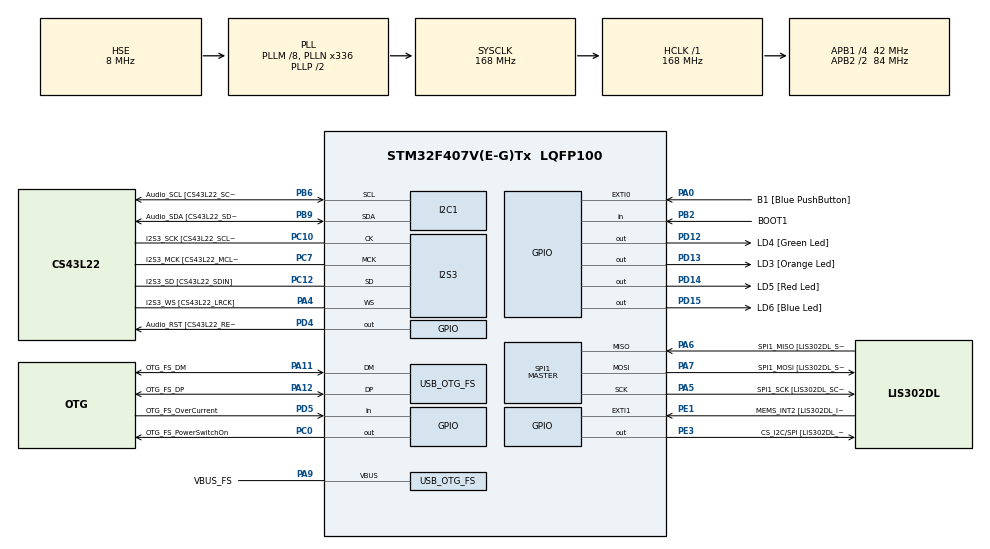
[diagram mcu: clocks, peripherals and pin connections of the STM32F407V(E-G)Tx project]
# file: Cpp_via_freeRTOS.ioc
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FREERTOS.BinarySemaphores01=myBinarySem01,Dynamic,NULL;myBinarySem02,Dynamic,NULL;myBinarySem03,Dynamic,NULL
FREERTOS.Mutexes01=myMutex01,Dynamic,NULL;myMutex02,Dynamic,NULL;myMutex03,Dynamic,NULL
FREERTOS.Queues01=myQueue01,16,uint16_t,0,Dynamic,NULL,NULL;myQueue02,16,uint16_t,0,Dynamic,NULL,NULL;myQueue03,16,uint16_t,0,Dynamic,NULL,NULL
FREERTOS.Tasks01=defaultTask,0,128,StartDefaultTask,Default,NULL,Dynamic,NULL,NULL;myTask02,-3,128,StartTask02,Default,NULL,Dynamic,NULL,NULL;myTask03,-3,128,StartTask03,Default,NULL,Dynamic,NULL,NULL
I2S3.AudioFreq-Half_Duplex_Master=I2S_AUDIOFREQ_96K
I2S3.ErrorAudioFreq=-2.34 %
I2S3.ErrorAudioFreq-Half_Duplex_Master=0.8 %
I2S3.FullDuplexMode=I2S_FULLDUPLEXMODE_DISABLE
I2S3.Instance=SPI$Index
I2S3.RealAudioFreq=93.75 KHz
I2S3.RealAudioFreq-Half_Duplex_Master=96.774 KHz
I2S3.VirtualMode=I2S_MODE_MASTER
Mcu.Family=STM32F4
Mcu.Name=STM32F407V(E-G)Tx
Mcu.Package=LQFP100
NVIC.OTG_FS_IRQn=true\:5\:0\:false\:false\:true\:true\:true
NVIC.PriorityGroup=NVIC_PRIORITYGROUP_4
NVIC.TIM6_DAC_IRQn=true\:0\:0\:false\:false\:true\:false\:false
NVIC.TimeBase=TIM6_DAC_IRQn
NVIC.TimeBaseIP=TIM6
PA0-WKUP.GPIO_Label=B1 [Blue PushButton]
PA0-WKUP.GPIO_ModeDefaultEXTI=GPIO_MODE_EVT_RISING
PA0-WKUP.GPIO_PuPd=GPIO_NOPULL
PA0-WKUP.Signal=GPXTI0
PA10.GPIO_Label=OTG_FS_ID
PA10.GPIO_Mode=GPIO_MODE_AF_PP
PA10.GPIO_PuPd=GPIO_NOPULL
PA10.GPIO_Speed=GPIO_SPEED_FREQ_LOW
PA10.Signal=USB_OTG_FS_ID
PA11.GPIO_Label=OTG_FS_DM
PA11.GPIO_Mode=GPIO_MODE_AF_PP
PA11.GPIO_PuPd=GPIO_NOPULL
PA11.GPIO_Speed=GPIO_SPEED_FREQ_LOW
PA11.Mode=Host_Only
PA11.Signal=USB_OTG_FS_DM
PA12.GPIO_Label=OTG_FS_DP
PA12.GPIO_Mode=GPIO_MODE_AF_PP
PA12.GPIO_PuPd=GPIO_NOPULL
PA12.GPIO_Speed=GPIO_SPEED_FREQ_LOW
PA12.Mode=Host_Only
PA12.Signal=USB_OTG_FS_DP
PA13.GPIO_Label=SWDIO
PA13.Mode=Serial_Wire
PA13.Signal=SYS_JTMS-SWDIO
PA14.GPIO_Label=SWCLK
PA14.Mode=Serial_Wire
PA14.Signal=SYS_JTCK-SWCLK
PA4.GPIO_Label=I2S3_WS [CS43L22_LRCK]
PA4.GPIO_Mode=GPIO_MODE_AF_PP
PA4.GPIO_PuPd=GPIO_NOPULL
PA4.GPIO_Speed=GPIO_SPEED_FREQ_LOW
PA4.Mode=Half_Duplex_Master
PA4.Signal=I2S3_WS
PA5.GPIO_Label=SPI1_SCK [LIS302DL_SCL/SPC]
PA5.GPIO_Mode=GPIO_MODE_AF_PP
PA5.GPIO_PuPd=GPIO_NOPULL
PA5.GPIO_Speed=GPIO_SPEED_FREQ_LOW
PA5.Mode=Full_Duplex_Master
PA5.Signal=SPI1_SCK
PA6.GPIO_Label=SPI1_MISO [LIS302DL_SDO]
PA6.GPIO_Mode=GPIO_MODE_AF_PP
PA6.GPIO_PuPd=GPIO_NOPULL
PA6.GPIO_Speed=GPIO_SPEED_FREQ_LOW
PA6.Mode=Full_Duplex_Master
PA6.Signal=SPI1_MISO
PA7.GPIO_Label=SPI1_MOSI [LIS302DL_SDA/SDI/SDO]
PA7.GPIO_Mode=GPIO_MODE_AF_PP
PA7.GPIO_PuPd=GPIO_NOPULL
PA7.GPIO_Speed=GPIO_SPEED_FREQ_LOW
PA7.Mode=Full_Duplex_Master
PA7.Signal=SPI1_MOSI
PA9.GPIO_Label=VBUS_FS
PA9.GPIO_Mode=GPIO_MODE_INPUT
PA9.GPIO_PuPd=GPIO_NOPULL
PA9.Mode=Activate_VBUS
PA9.Signal=USB_OTG_FS_VBUS
PB10.GPIO_Label=CLK_IN [MP45DT02_CLK]
PB10.GPIO_Mode=GPIO_MODE_AF_PP
PB10.GPIO_PuPd=GPIO_NOPULL
PB10.GPIO_Speed=GPIO_SPEED_FREQ_LOW
PB10.Signal=I2S2_CK
PB2.GPIO_Label=BOOT1
PB2.GPIO_Mode=GPIO_MODE_INPUT
PB2.GPIO_PuPd=GPIO_NOPULL
PB2.Signal=GPIO_Input
PB3.GPIO_Label=SWO
PB3.Signal=SYS_JTDO-SWO
PB6.GPIO_Label=Audio_SCL [CS43L22_SCL]
PB6.GPIO_Mode=GPIO_MODE_AF_OD
PB6.GPIO_PuPd=GPIO_NOPULL
PB6.GPIO_Speed=GPIO_SPEED_FREQ_LOW
PB6.Mode=I2C
PB6.Signal=I2C1_SCL
PB9.GPIO_Label=Audio_SDA [CS43L22_SDA]
PB9.GPIO_Mode=GPIO_MODE_AF_OD
PB9.GPIO_PuPd=GPIO_NOPULL
PB9.GPIO_Speed=GPIO_SPEED_FREQ_LOW
PB9.Mode=I2C
PB9.Signal=I2C1_SDA
PC0.GPIO_Label=OTG_FS_PowerSwitchOn
PC0.GPIO_PuPd=GPIO_NOPULL
PC0.GPIO_Speed=GPIO_SPEED_FREQ_LOW
PC0.PinState=GPIO_PIN_SET
PC0.Signal=GPIO_Output
PC10.GPIO_Label=I2S3_SCK [CS43L22_SCLK]
PC10.GPIO_Mode=GPIO_MODE_AF_PP
PC10.GPIO_PuPd=GPIO_NOPULL
PC10.GPIO_Speed=GPIO_SPEED_FREQ_LOW
PC10.Mode=Half_Duplex_Master
PC10.Signal=I2S3_CK
PC12.GPIO_Label=I2S3_SD [CS43L22_SDIN]
PC12.GPIO_Mode=GPIO_MODE_AF_PP
PC12.GPIO_PuPd=GPIO_NOPULL
PC12.GPIO_Speed=GPIO_SPEED_FREQ_LOW
PC12.Mode=Half_Duplex_Master
PC12.Signal=I2S3_SD
PC14-OSC32_IN.GPIO_Label=PC14-OSC32_IN
PC14-OSC32_IN.Mode=LSE-External-Oscillator
PC14-OSC32_IN.Signal=RCC_OSC32_IN
PC15-OSC32_OUT.GPIO_Label=PC15-OSC32_OUT
PC15-OSC32_OUT.Mode=LSE-External-Oscillator
PC15-OSC32_OUT.Signal=RCC_OSC32_OUT
PC3.GPIO_Label=PDM_OUT [MP45DT02_DOUT]
PC3.GPIO_Mode=GPIO_MODE_AF_PP
PC3.GPIO_PuPd=GPIO_NOPULL
PC3.GPIO_Speed=GPIO_SPEED_FREQ_LOW
PC3.Signal=I2S2_SD
PC7.GPIO_Label=I2S3_MCK [CS43L22_MCLK]
PC7.GPIO_Mode=GPIO_MODE_AF_PP
PC7.GPIO_PuPd=GPIO_NOPULL
PC7.GPIO_Speed=GPIO_SPEED_FREQ_LOW
PC7.Mode=Master_Clock_Activated
PC7.Signal=I2S3_MCK
PD12.GPIO_Label=LD4 [Green Led]
PD12.GPIO_PuPd=GPIO_NOPULL
PD12.GPIO_Speed=GPIO_SPEED_FREQ_LOW
PD12.Signal=GPIO_Output
PD13.GPIO_Label=LD3 [Orange Led]
PD13.GPIO_PuPd=GPIO_NOPULL
PD13.GPIO_Speed=GPIO_SPEED_FREQ_LOW
PD13.Signal=GPIO_Output
PD14.GPIO_Label=LD5 [Red Led]
PD14.GPIO_PuPd=GPIO_NOPULL
PD14.GPIO_Speed=GPIO_SPEED_FREQ_LOW
PD14.Signal=GPIO_Output
PD15.GPIO_Label=LD6 [Blue Led]
PD15.GPIO_PuPd=GPIO_NOPULL
PD15.GPIO_Speed=GPIO_SPEED_FREQ_LOW
PD15.Signal=GPIO_Output
PD4.GPIO_Label=Audio_RST [CS43L22_RESET]
PD4.GPIO_PuPd=GPIO_NOPULL
PD4.GPIO_Speed=GPIO_SPEED_FREQ_LOW
PD4.Signal=GPIO_Output
PD5.GPIO_Label=OTG_FS_OverCurrent
PD5.GPIO_Mode=GPIO_MODE_INPUT
PD5.GPIO_PuPd=GPIO_NOPULL
PD5.Signal=GPIO_Input
PE1.GPIO_Label=MEMS_INT2 [LIS302DL_INT2]
PE1.GPIO_ModeDefaultEXTI=GPIO_MODE_EVT_RISING
PE1.GPIO_PuPd=GPIO_NOPULL
PE1.Signal=GPXTI1
PE3.GPIO_Label=CS_I2C/SPI [LIS302DL_CS_I2C/SPI]
PE3.GPIO_PuPd=GPIO_NOPULL
PE3.GPIO_Speed=GPIO_SPEED_FREQ_LOW
PE3.Signal=GPIO_Output
PH0-OSC_IN.GPIO_Label=PH0-OSC_IN
PH0-OSC_IN.Mode=HSE-External-Oscillator
PH0-OSC_IN.Signal=RCC_OSC_IN
PH1-OSC_OUT.GPIO_Label=PH1-OSC_OUT
PH1-OSC_OUT.Mode=HSE-External-Oscillator
PH1-OSC_OUT.Signal=RCC_OSC_OUT
ProjectManager.HeapSize=0x200
ProjectManager.StackSize=0x400
ProjectManager.TargetToolchain=MDK-ARM V5
RCC.48MHZClocksFreq_Value=48000000
RCC.AHBFreq_Value=168000000
RCC.APB1CLKDivider=RCC_HCLK_DIV4
RCC.APB1Freq_Value=42000000
RCC.APB1TimFreq_Value=84000000
RCC.APB2CLKDivider=RCC_HCLK_DIV2
RCC.APB2Freq_Value=84000000
RCC.APB2TimFreq_Value=168000000
RCC.CortexFreq_Value=168000000
RCC.HCLKFreq_Value=168000000
RCC.HSE_VALUE=8000000
RCC.HSI_VALUE=16000000
RCC.PLLM=8
RCC.PLLN=336
RCC.PLLQ=7
RCC.SYSCLKFreq_VALUE=168000000
RCC.SYSCLKSource=RCC_SYSCLKSOURCE_PLLCLK
RCC.VCOOutputFreq_Value=336000000
SPI1.BaudRatePrescaler-Full_Duplex_Master=SPI_BAUDRATEPRESCALER_2
SPI1.CalculateBaudRate-Full_Duplex_Master=42.0 MBits/s
SPI1.Direction=SPI_DIRECTION_2LINES
SPI1.Mode=SPI_MODE_MASTER
SPI1.Mode-Full_Duplex_Master=SPI_MODE_MASTER
SPI1.VirtualType=VM_MASTER
USB_HOST.BSP.number=1
USB_HOST.USBH_HandleTypeDef-CDC_FS=hUsbHostFS
USB_HOST.VirtualModeFS=Cdc
USB_HOST0.BSP.STBoard=false
USB_HOST0.BSP.api=Unknown
USB_HOST0.BSP.i2caddr=0
USB_HOST0.BSP.i2creg=0
USB_HOST0.BSP.instance=PC0
USB_HOST0.BSP.ip=GPIO
USB_HOST0.BSP.mode=Output
USB_HOST0.BSP.name=Drive_VBUS_FS
USB_HOST0.BSP.solution=PC0
USB_OTG_FS.VirtualMode=Host_Only
USB_OTG_FS.phy_itface=HCD_PHY_EMBEDDED
VP_FREERTOS_VS_ENABLE.Mode=Enabled
VP_SYS_VS_tim6.Mode=TIM6
VP_USB_HOST_VS_USB_HOST_CDC_FS.Mode=CDC_FS
board=STM32F4DISCOVERY

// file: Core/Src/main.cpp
/* USER CODE BEGIN Header */
/**
  ******************************************************************************
  * @file           : main.c
  * @brief          : Main program body
  ******************************************************************************
  * This notice applies to any and all portions of this file
  * that are not between comment pairs USER CODE BEGIN and
  * USER CODE END. Other portions of this file, whether
  * inserted by the user or by software development tools
  * are owned by their respective copyright owners.
  *
  * Copyright (c) 2019 STMicroelectronics International N.V.
  * All rights reserved.
  *
  * Redistribution and use in source and binary forms, with or without
  * modification, are permitted, provided that the following conditions are met:
  *
  * 1. Redistribution of source code must retain the above copyright notice,
  *    this list of conditions and the following disclaimer.
  * 2. Redistributions in binary form must reproduce the above copyright notice,
  *    this list of conditions and the following disclaimer in the documentation
  *    and/or other materials provided with the distribution.
  * 3. Neither the name of STMicroelectronics nor the names of other
  *    contributors to this software may be used to endorse or promote products
  *    derived from this software without specific written permission.
  * 4. This software, including modifications and/or derivative works of this
  *    software, must execute solely and exclusively on microcontroller or
  *    microprocessor devices manufactured by or for STMicroelectronics.
  * 5. Redistribution and use of this software other than as permitted under
  *    this license is void and will automatically terminate your rights under
  *    this license.
  *
  * THIS SOFTWARE IS PROVIDED BY STMICROELECTRONICS AND CONTRIBUTORS "AS IS"
  * AND ANY EXPRESS, IMPLIED OR STATUTORY WARRANTIES, INCLUDING, BUT NOT
  * LIMITED TO, THE IMPLIED WARRANTIES OF MERCHANTABILITY, FITNESS FOR A
  * PARTICULAR PURPOSE AND NON-INFRINGEMENT OF THIRD PARTY INTELLECTUAL PROPERTY
  * RIGHTS ARE DISCLAIMED TO THE FULLEST EXTENT PERMITTED BY LAW. IN NO EVENT
  * SHALL STMICROELECTRONICS OR CONTRIBUTORS BE LIABLE FOR ANY DIRECT, INDIRECT,
  * INCIDENTAL, SPECIAL, EXEMPLARY, OR CONSEQUENTIAL DAMAGES (INCLUDING, BUT NOT
  * LIMITED TO, PROCUREMENT OF SUBSTITUTE GOODS OR SERVICES; LOSS OF USE, DATA,
  * OR PROFITS; OR BUSINESS INTERRUPTION) HOWEVER CAUSED AND ON ANY THEORY OF
  * LIABILITY, WHETHER IN CONTRACT, STRICT LIABILITY, OR TORT (INCLUDING
  * NEGLIGENCE OR OTHERWISE) ARISING IN ANY WAY OUT OF THE USE OF THIS SOFTWARE,
  * EVEN IF ADVISED OF THE POSSIBILITY OF SUCH DAMAGE.
  *
  ******************************************************************************
  */
/* USER CODE END Header */

#include "main.h"
#include "cmsis_os.h"
#include "usb_host.h"
#include "lib1.h"

/* USER CODE BEGIN PTD */
led_cpp  led1(LED1);
led_cpp  led2(LED2);
led_cpp  led3(LED3);
led_cpp  led4(LED4);
/* USER CODE END PTD */

I2C_HandleTypeDef hi2c1;

I2S_HandleTypeDef hi2s3;

SPI_HandleTypeDef hspi1;

osThreadId defaultTaskHandle;
osThreadId myTask02Handle;
osThreadId myTask03Handle;
osThreadId myTask04Handle;

osMessageQId myQueue01Handle;
osMessageQId myQueue02Handle;
osMessageQId myQueue03Handle;
osMessageQId myQueue04Handle;

osMutexId myMutex01Handle;
osMutexId myMutex02Handle;
osMutexId myMutex03Handle;
osMutexId myMutex04Handle;

osSemaphoreId myBinarySem01Handle;
osSemaphoreId myBinarySem02Handle;
osSemaphoreId myBinarySem03Handle;
osSemaphoreId myBinarySem04Handle;

void SystemClock_Config(void);
static void MX_GPIO_Init(void);
static void MX_I2C1_Init(void);
static void MX_I2S3_Init(void);
static void MX_SPI1_Init(void);

void StartDefaultTask(void const * argument);
void StartTask02(void const * argument);
void StartTask03(void const * argument);
void StartTask04(void const * argument);

int main(void)
{

  /* MCU Configuration--------------------------------------------------------*/

  /* Reset of all peripherals, Initializes the Flash interface and the Systick. */
  HAL_Init();

  /* Configure the system clock */
  SystemClock_Config();

  /* Initialize all configured peripherals */
  MX_GPIO_Init();
  MX_I2C1_Init();
  MX_I2S3_Init();
  MX_SPI1_Init();
  /* USER CODE BEGIN 2 */
	/* LED LIBRARY TEST BLOCK*/
	led1.on();
	HAL_Delay(250);
	led1.off();
	led2.on();
	HAL_Delay(250);
	led2.off();
	led3.on();
	HAL_Delay(250);
	led3.off();
	led4.on();
	HAL_Delay(250);
	led4.off();
	HAL_Delay(250);

	led1.toggle();
	HAL_Delay(250);
	led2.toggle();
	HAL_Delay(250);
	led3.toggle();
	HAL_Delay(250);
	led4.toggle();
	HAL_Delay(250);

	HAL_Delay(1000);

  /* USER CODE END 2 */

  /* Create the mutex(es) */
  /* definition and creation of myMutex01 */
  osMutexDef(myMutex01);
  myMutex01Handle = osMutexCreate(osMutex(myMutex01));

  /* definition and creation of myMutex02 */
  osMutexDef(myMutex02);
  myMutex02Handle = osMutexCreate(osMutex(myMutex02));

  /* definition and creation of myMutex03 */
  osMutexDef(myMutex03);
  myMutex03Handle = osMutexCreate(osMutex(myMutex03));

  /* USER CODE BEGIN RTOS_MUTEX */
  /* add mutexes, ... */
	osMutexDef(myMutex04);
	myMutex04Handle = osMutexCreate(osMutex(myMutex04));
	/* USER CODE END RTOS_MUTEX */

  /* Create the semaphores(s) */
  /* definition and creation of myBinarySem01 */
  osSemaphoreDef(myBinarySem01);
  myBinarySem01Handle = osSemaphoreCreate(osSemaphore(myBinarySem01), 1);

  /* definition and creation of myBinarySem02 */
  osSemaphoreDef(myBinarySem02);
  myBinarySem02Handle = osSemaphoreCreate(osSemaphore(myBinarySem02), 1);

  /* definition and creation of myBinarySem03 */
  osSemaphoreDef(myBinarySem03);
  myBinarySem03Handle = osSemaphoreCreate(osSemaphore(myBinarySem03), 1);

  /* USER CODE BEGIN RTOS_SEMAPHORES */
  /* add semaphores, ... */
	osSemaphoreDef(myBinarySem04);
	myBinarySem04Handle = osSemaphoreCreate(osSemaphore(myBinarySem04), 1);
  /* USER CODE END RTOS_SEMAPHORES */

  /* Create the thread(s) */
  /* definition and creation of defaultTask */
  osThreadDef(defaultTask, StartDefaultTask, osPriorityNormal, 0, 128);
  defaultTaskHandle = osThreadCreate(osThread(defaultTask), NULL);

  /* definition and creation of myTask02 */
  osThreadDef(myTask02, StartTask02, osPriorityIdle, 0, 128);
  myTask02Handle = osThreadCreate(osThread(myTask02), NULL);

  /* definition and creation of myTask03 */
  osThreadDef(myTask03, StartTask03, osPriorityIdle, 0, 128);
  myTask03Handle = osThreadCreate(osThread(myTask03), NULL);

  /* USER CODE BEGIN RTOS_THREADS */
  /* add threads, ... */
	osThreadDef(myTask04, StartTask04, osPriorityIdle, 0, 128);
	myTask04Handle = osThreadCreate(osThread(myTask04), NULL);
  /* USER CODE END RTOS_THREADS */

  /* Create the queue(s) */
  /* definition and creation of myQueue01 */
  osMessageQDef(myQueue01, 16, uint16_t);
  myQueue01Handle = osMessageCreate(osMessageQ(myQueue01), NULL);

  /* definition and creation of myQueue02 */
  osMessageQDef(myQueue02, 16, uint16_t);
  myQueue02Handle = osMessageCreate(osMessageQ(myQueue02), NULL);

  /* definition and creation of myQueue03 */
  osMessageQDef(myQueue03, 16, uint16_t);
  myQueue03Handle = osMessageCreate(osMessageQ(myQueue03), NULL);

  /* USER CODE BEGIN RTOS_QUEUES */
  /* add queues, ... */
	osMessageQDef(myQueue04, 16, uint16_t);
	myQueue03Handle = osMessageCreate(osMessageQ(myQueue04), NULL);

  /* USER CODE END RTOS_QUEUES */

  /* Start scheduler */
  osKernelStart();

  /* We should never get here as control is now taken by the scheduler */

  /* Infinite loop */
  while (1)
  {

  }
}

void SystemClock_Config(void)
{
  RCC_OscInitTypeDef RCC_OscInitStruct = {0};
  RCC_ClkInitTypeDef RCC_ClkInitStruct = {0};
  RCC_PeriphCLKInitTypeDef PeriphClkInitStruct = {0};

  /**Configure the main internal regulator output voltage
  */
  __HAL_RCC_PWR_CLK_ENABLE();
  __HAL_PWR_VOLTAGESCALING_CONFIG(PWR_REGULATOR_VOLTAGE_SCALE1);
  /**Initializes the CPU, AHB and APB busses clocks
  */
  RCC_OscInitStruct.OscillatorType = RCC_OSCILLATORTYPE_HSE;
  RCC_OscInitStruct.HSEState = RCC_HSE_ON;
  RCC_OscInitStruct.PLL.PLLState = RCC_PLL_ON;
  RCC_OscInitStruct.PLL.PLLSource = RCC_PLLSOURCE_HSE;
  RCC_OscInitStruct.PLL.PLLM = 8;
  RCC_OscInitStruct.PLL.PLLN = 336;
  RCC_OscInitStruct.PLL.PLLP = RCC_PLLP_DIV2;
  RCC_OscInitStruct.PLL.PLLQ = 7;
  if (HAL_RCC_OscConfig(&RCC_OscInitStruct) != HAL_OK)
  {
    Error_Handler();
  }
  /**Initializes the CPU, AHB and APB busses clocks
  */
  RCC_ClkInitStruct.ClockType = RCC_CLOCKTYPE_HCLK|RCC_CLOCKTYPE_SYSCLK
                              |RCC_CLOCKTYPE_PCLK1|RCC_CLOCKTYPE_PCLK2;
  RCC_ClkInitStruct.SYSCLKSource = RCC_SYSCLKSOURCE_PLLCLK;
  RCC_ClkInitStruct.AHBCLKDivider = RCC_SYSCLK_DIV1;
  RCC_ClkInitStruct.APB1CLKDivider = RCC_HCLK_DIV4;
  RCC_ClkInitStruct.APB2CLKDivider = RCC_HCLK_DIV2;

  if (HAL_RCC_ClockConfig(&RCC_ClkInitStruct, FLASH_LATENCY_5) != HAL_OK)
  {
    Error_Handler();
  }
  PeriphClkInitStruct.PeriphClockSelection = RCC_PERIPHCLK_I2S;
  PeriphClkInitStruct.PLLI2S.PLLI2SN = 192;
  PeriphClkInitStruct.PLLI2S.PLLI2SR = 2;
  if (HAL_RCCEx_PeriphCLKConfig(&PeriphClkInitStruct) != HAL_OK)
  {
    Error_Handler();
  }
}

static void MX_I2C1_Init(void)
{

  hi2c1.Instance = I2C1;
  hi2c1.Init.ClockSpeed = 100000;
  hi2c1.Init.DutyCycle = I2C_DUTYCYCLE_2;
  hi2c1.Init.OwnAddress1 = 0;
  hi2c1.Init.AddressingMode = I2C_ADDRESSINGMODE_7BIT;
  hi2c1.Init.DualAddressMode = I2C_DUALADDRESS_DISABLE;
  hi2c1.Init.OwnAddress2 = 0;
  hi2c1.Init.GeneralCallMode = I2C_GENERALCALL_DISABLE;
  hi2c1.Init.NoStretchMode = I2C_NOSTRETCH_DISABLE;
  if (HAL_I2C_Init(&hi2c1) != HAL_OK)
  {
    Error_Handler();
  }

}

static void MX_I2S3_Init(void)
{

  hi2s3.Instance = SPI3;
  hi2s3.Init.Mode = I2S_MODE_MASTER_TX;
  hi2s3.Init.Standard = I2S_STANDARD_PHILIPS;
  hi2s3.Init.DataFormat = I2S_DATAFORMAT_16B;
  hi2s3.Init.MCLKOutput = I2S_MCLKOUTPUT_ENABLE;
  hi2s3.Init.AudioFreq = I2S_AUDIOFREQ_96K;
  hi2s3.Init.CPOL = I2S_CPOL_LOW;
  hi2s3.Init.ClockSource = I2S_CLOCK_PLL;
  hi2s3.Init.FullDuplexMode = I2S_FULLDUPLEXMODE_DISABLE;
  if (HAL_I2S_Init(&hi2s3) != HAL_OK)
  {
    Error_Handler();
  }

}

static void MX_SPI1_Init(void)
{

  /* SPI1 parameter configuration*/
  hspi1.Instance = SPI1;
  hspi1.Init.Mode = SPI_MODE_MASTER;
  hspi1.Init.Direction = SPI_DIRECTION_2LINES;
  hspi1.Init.DataSize = SPI_DATASIZE_8BIT;
  hspi1.Init.CLKPolarity = SPI_POLARITY_LOW;
  hspi1.Init.CLKPhase = SPI_PHASE_1EDGE;
  hspi1.Init.NSS = SPI_NSS_SOFT;
  hspi1.Init.BaudRatePrescaler = SPI_BAUDRATEPRESCALER_2;
  hspi1.Init.FirstBit = SPI_FIRSTBIT_MSB;
  hspi1.Init.TIMode = SPI_TIMODE_DISABLE;
  hspi1.Init.CRCCalculation = SPI_CRCCALCULATION_DISABLE;
  hspi1.Init.CRCPolynomial = 10;
  if (HAL_SPI_Init(&hspi1) != HAL_OK)
  {
    Error_Handler();
  }

}

static void MX_GPIO_Init(void)
{
  GPIO_InitTypeDef GPIO_InitStruct = {0};

  /* GPIO Ports Clock Enable */
  __HAL_RCC_GPIOE_CLK_ENABLE();
  __HAL_RCC_GPIOC_CLK_ENABLE();
  __HAL_RCC_GPIOH_CLK_ENABLE();
  __HAL_RCC_GPIOA_CLK_ENABLE();
  __HAL_RCC_GPIOB_CLK_ENABLE();
  __HAL_RCC_GPIOD_CLK_ENABLE();

  /*Configure GPIO pin Output Level */
  HAL_GPIO_WritePin(CS_I2C_SPI_GPIO_Port, CS_I2C_SPI_Pin, GPIO_PIN_RESET);

  /*Configure GPIO pin Output Level */
  HAL_GPIO_WritePin(OTG_FS_PowerSwitchOn_GPIO_Port, OTG_FS_PowerSwitchOn_Pin, GPIO_PIN_SET);

  /*Configure GPIO pin Output Level */
  HAL_GPIO_WritePin(GPIOD, LD4_Pin|LD3_Pin|LD5_Pin|LD6_Pin
                          |Audio_RST_Pin, GPIO_PIN_RESET);

  /*Configure GPIO pin : CS_I2C_SPI_Pin */
  GPIO_InitStruct.Pin = CS_I2C_SPI_Pin;
  GPIO_InitStruct.Mode = GPIO_MODE_OUTPUT_PP;
  GPIO_InitStruct.Pull = GPIO_NOPULL;
  GPIO_InitStruct.Speed = GPIO_SPEED_FREQ_LOW;
  HAL_GPIO_Init(CS_I2C_SPI_GPIO_Port, &GPIO_InitStruct);

  /*Configure GPIO pin : OTG_FS_PowerSwitchOn_Pin */
  GPIO_InitStruct.Pin = OTG_FS_PowerSwitchOn_Pin;
  GPIO_InitStruct.Mode = GPIO_MODE_OUTPUT_PP;
  GPIO_InitStruct.Pull = GPIO_NOPULL;
  GPIO_InitStruct.Speed = GPIO_SPEED_FREQ_LOW;
  HAL_GPIO_Init(OTG_FS_PowerSwitchOn_GPIO_Port, &GPIO_InitStruct);

  /*Configure GPIO pin : PDM_OUT_Pin */
  GPIO_InitStruct.Pin = PDM_OUT_Pin;
  GPIO_InitStruct.Mode = GPIO_MODE_AF_PP;
  GPIO_InitStruct.Pull = GPIO_NOPULL;
  GPIO_InitStruct.Speed = GPIO_SPEED_FREQ_LOW;
  GPIO_InitStruct.Alternate = GPIO_AF5_SPI2;
  HAL_GPIO_Init(PDM_OUT_GPIO_Port, &GPIO_InitStruct);

  /*Configure GPIO pin : B1_Pin */
  GPIO_InitStruct.Pin = B1_Pin;
  GPIO_InitStruct.Mode = GPIO_MODE_EVT_RISING;
  GPIO_InitStruct.Pull = GPIO_NOPULL;
  HAL_GPIO_Init(B1_GPIO_Port, &GPIO_InitStruct);

  /*Configure GPIO pin : BOOT1_Pin */
  GPIO_InitStruct.Pin = BOOT1_Pin;
  GPIO_InitStruct.Mode = GPIO_MODE_INPUT;
  GPIO_InitStruct.Pull = GPIO_NOPULL;
  HAL_GPIO_Init(BOOT1_GPIO_Port, &GPIO_InitStruct);

  /*Configure GPIO pin : CLK_IN_Pin */
  GPIO_InitStruct.Pin = CLK_IN_Pin;
  GPIO_InitStruct.Mode = GPIO_MODE_AF_PP;
  GPIO_InitStruct.Pull = GPIO_NOPULL;
  GPIO_InitStruct.Speed = GPIO_SPEED_FREQ_LOW;
  GPIO_InitStruct.Alternate = GPIO_AF5_SPI2;
  HAL_GPIO_Init(CLK_IN_GPIO_Port, &GPIO_InitStruct);

  /*Configure GPIO pins : LD4_Pin LD3_Pin LD5_Pin LD6_Pin
                           Audio_RST_Pin */
  GPIO_InitStruct.Pin = LD4_Pin|LD3_Pin|LD5_Pin|LD6_Pin
                          |Audio_RST_Pin;
  GPIO_InitStruct.Mode = GPIO_MODE_OUTPUT_PP;
  GPIO_InitStruct.Pull = GPIO_NOPULL;
  GPIO_InitStruct.Speed = GPIO_SPEED_FREQ_LOW;
  HAL_GPIO_Init(GPIOD, &GPIO_InitStruct);

  /*Configure GPIO pin : OTG_FS_OverCurrent_Pin */
  GPIO_InitStruct.Pin = OTG_FS_OverCurrent_Pin;
  GPIO_InitStruct.Mode = GPIO_MODE_INPUT;
  GPIO_InitStruct.Pull = GPIO_NOPULL;
  HAL_GPIO_Init(OTG_FS_OverCurrent_GPIO_Port, &GPIO_InitStruct);

  /*Configure GPIO pin : MEMS_INT2_Pin */
  GPIO_InitStruct.Pin = MEMS_INT2_Pin;
  GPIO_InitStruct.Mode = GPIO_MODE_EVT_RISING;
  GPIO_InitStruct.Pull = GPIO_NOPULL;
  HAL_GPIO_Init(MEMS_INT2_GPIO_Port, &GPIO_InitStruct);

}

void StartDefaultTask(void const * argument)
{
  /* init code for USB_HOST */
  /*MX_USB_HOST_Init();*/

  /* USER CODE BEGIN 5 */
  /* Infinite loop */
  for(;;)
  {
		led1.toggle();
		/*
		HAL_GPIO_TogglePin(GPIOD,GPIO_PIN_12);
		*/
    osDelay(100);
  }
  /* USER CODE END 5 */
}

void StartTask02(void const * argument)
{
  /* USER CODE BEGIN StartTask02 */
  /* Infinite loop */
  for(;;)
  {
		led2.toggle();
    osDelay(150);
  }
  /* USER CODE END StartTask02 */
}

void StartTask03(void const * argument)
{
  /* USER CODE BEGIN StartTask03 */
  /* Infinite loop */
  for(;;)
  {
		led3.toggle();
		/*
		HAL_GPIO_TogglePin(GPIOD,GPIO_PIN_14);
		*/
    osDelay(200);
  }
  /* USER CODE END StartTask03 */
}

void StartTask04(void const * argument)
{

	for(;;)
	{
		led4.toggle();

		osDelay(500);
	}
}
void HAL_TIM_PeriodElapsedCallback(TIM_HandleTypeDef *htim)
{
  if (htim->Instance == TIM6) {
    HAL_IncTick();
  }
}

void Error_Handler(void)
{
}

/************************ (C) COPYRIGHT STMicroelectronics *****END OF FILE****/
